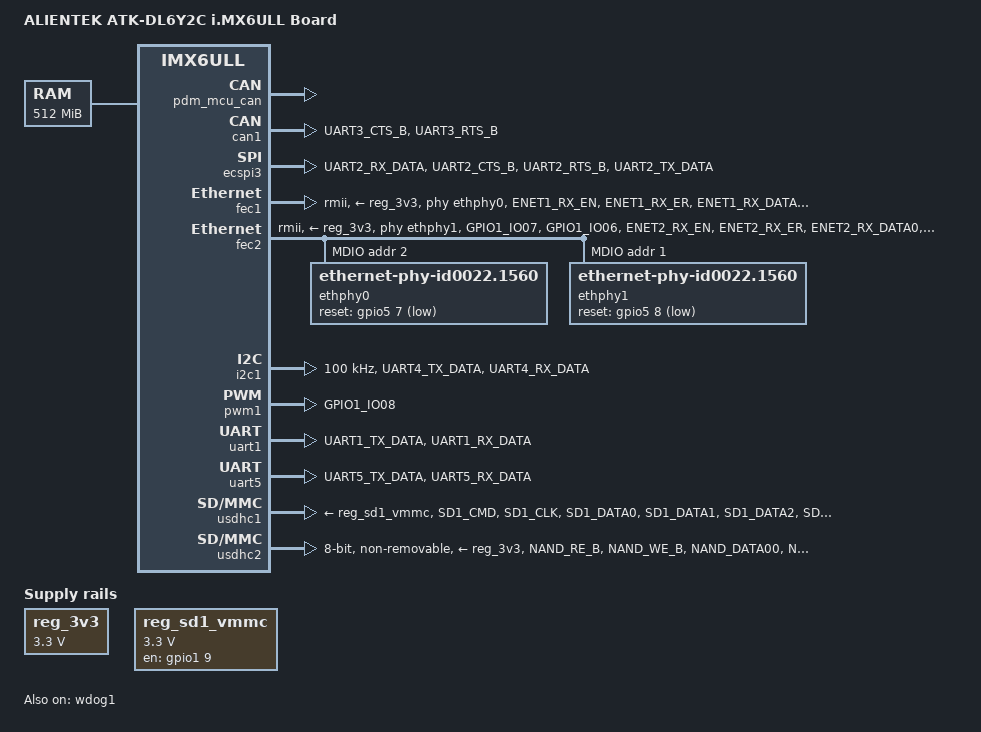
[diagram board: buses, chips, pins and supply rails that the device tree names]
// SPDX-License-Identifier: (GPL-2.0 OR MIT)
/*
 * Device tree for the ALIENTEK ATK-DL6Y2C i.MX6ULL board.
 */

/dts-v1/;

#include "imx6ull.dtsi"

/ {
	model = "ALIENTEK ATK-DL6Y2C i.MX6ULL Board";
	compatible = "alientek,imx6ull-atk-dl6y2c", "fsl,imx6ull";

	chosen {
		stdout-path = &uart1;
	};

	aliases {
		can0 = &can1;
		mmc0 = &usdhc1;
		mmc1 = &usdhc2;
	};

	memory@80000000 {
		device_type = "memory";
		reg = <0x80000000 0x20000000>;
	};

	pdm_bus: pdm-bus {
		compatible = "pdm,bus-type";
		#address-cells = <1>;
		#size-cells = <0>;
		pinctrl-names = "default";
		pinctrl-0 = <&pinctrl_pdm_led_gpio>;

		pdm_led_gpio: led@0 {
			compatible = "pdm,led-gpio";
			reg = <0>;
			led-gpios = <&gpio1 3 GPIO_ACTIVE_LOW>;
			max-brightness = <1>;
			default-state = "off";
		};

		pdm_led_pwm: led@1 {
			compatible = "pdm,led-pwm";
			reg = <1>;
			pwms = <&pwm1 0 5000000 0>;
			max-brightness = <255>;
			default-state = "off";
		};

		pdm_mcu_can: mcu@3 {
			compatible = "pdm,mcu-can";
			reg = <3>;
			pdm,name = "main_mcu";
			pdm,id = <0>;
			can-controller = <&can1>;
			pdm,rx-timeout-ms = <100>;
		};
	};

	reg_3v3: regulator-3v3 {
		compatible = "regulator-fixed";
		regulator-name = "3v3";
		regulator-min-microvolt = <3300000>;
		regulator-max-microvolt = <3300000>;
		regulator-always-on;
		regulator-boot-on;
	};

	reg_sd1_vmmc: regulator-sd1-vmmc {
		compatible = "regulator-fixed";
		regulator-name = "VSD_3V3";
		regulator-min-microvolt = <3300000>;
		regulator-max-microvolt = <3300000>;
		gpio = <&gpio1 9 GPIO_ACTIVE_HIGH>;
		enable-active-high;
		regulator-boot-on;
	};
};

&can1 {
	pinctrl-names = "default";
	pinctrl-0 = <&pinctrl_flexcan1>;
	status = "okay";
};

&clks {
	assigned-clocks = <&clks IMX6UL_CLK_PLL3_PFD2>;
	assigned-clock-rates = <320000000>;
};

&ecspi3 {
	cs-gpios = <&gpio1 20 GPIO_ACTIVE_LOW>;
	pinctrl-names = "default";
	pinctrl-0 = <&pinctrl_ecspi3>;
	status = "okay";

	pdm_mcu_spi: mcu@0 {
		compatible = "pdm,mcu-spi";
		reg = <0>;
		pdm,name = "spi_mcu";
		pdm,id = <1>;
		spi-max-frequency = <1000000>;
		pdm,command-bytes = <2>;
		pdm,rx-timeout-ms = <100>;
		status = "disabled";
	};
};

&fec1 {
	pinctrl-names = "default";
	pinctrl-0 = <&pinctrl_enet1>;
	phy-mode = "rmii";
	phy-handle = <&ethphy0>;
	phy-supply = <&reg_3v3>;
	status = "okay";
};

&fec2 {
	pinctrl-names = "default";
	pinctrl-0 = <&pinctrl_enet2>;
	phy-mode = "rmii";
	phy-handle = <&ethphy1>;
	phy-supply = <&reg_3v3>;
	status = "okay";

	mdio {
		#address-cells = <1>;
		#size-cells = <0>;

		ethphy0: ethernet-phy@2 {
			compatible = "ethernet-phy-id0022.1560";
			reg = <2>;
			pinctrl-names = "default";
			pinctrl-0 = <&pinctrl_enet1_rst>;
			reset-gpios = <&gpio5 7 GPIO_ACTIVE_LOW>;
			reset-assert-us = <10000>;
			reset-deassert-us = <30000>;
			micrel,led-mode = <1>;
			clocks = <&clks IMX6UL_CLK_ENET_REF>;
			clock-names = "rmii-ref";
		};

		ethphy1: ethernet-phy@1 {
			compatible = "ethernet-phy-id0022.1560";
			reg = <1>;
			pinctrl-names = "default";
			pinctrl-0 = <&pinctrl_enet2_rst>;
			reset-gpios = <&gpio5 8 GPIO_ACTIVE_LOW>;
			reset-assert-us = <10000>;
			reset-deassert-us = <30000>;
			micrel,led-mode = <1>;
			clocks = <&clks IMX6UL_CLK_ENET2_REF>;
			clock-names = "rmii-ref";
		};
	};
};

&i2c1 {
	clock-frequency = <100000>;
	pinctrl-names = "default";
	pinctrl-0 = <&pinctrl_i2c1>;
	status = "okay";

	pdm_mcu_i2c: mcu@10 {
		compatible = "pdm,mcu-i2c";
		reg = <0x10>;
		pdm,name = "i2c_mcu";
		pdm,id = <2>;
		pdm,command-bytes = <1>;
		pdm,rx-timeout-ms = <100>;
		status = "disabled";
	};
};

&pwm1 {
	pinctrl-names = "default";
	pinctrl-0 = <&pinctrl_pwm1>;
	status = "okay";
};

&snvs_poweroff {
	status = "okay";
};

&uart1 {
	pinctrl-names = "default";
	pinctrl-0 = <&pinctrl_uart1>;
	status = "okay";
};

&uart3 {
	pinctrl-names = "default";
	pinctrl-0 = <&pinctrl_uart3>;
	status = "disabled";

	pdm_mcu_uart: mcu {
		compatible = "pdm,mcu-uart";
		pdm,name = "uart_mcu";
		pdm,id = <3>;
		current-speed = <115200>;
		pdm,rx-timeout-ms = <100>;
		status = "disabled";
	};
};

&uart5 {
	pinctrl-names = "default";
	pinctrl-0 = <&pinctrl_uart5>;
	status = "okay";
};

&usdhc1 {
	pinctrl-names = "default", "state_100mhz", "state_200mhz";
	pinctrl-0 = <&pinctrl_usdhc1>;
	pinctrl-1 = <&pinctrl_usdhc1_100mhz>;
	pinctrl-2 = <&pinctrl_usdhc1_200mhz>;
	cd-gpios = <&gpio1 19 GPIO_ACTIVE_LOW>;
	keep-power-in-suspend;
	wakeup-source;
	vmmc-supply = <&reg_sd1_vmmc>;
	status = "okay";
};

&usdhc2 {
	pinctrl-names = "default", "state_100mhz", "state_200mhz";
	pinctrl-0 = <&pinctrl_usdhc2>;
	pinctrl-1 = <&pinctrl_usdhc2_100mhz>;
	pinctrl-2 = <&pinctrl_usdhc2_200mhz>;
	bus-width = <8>;
	non-removable;
	no-1-8-v;
	keep-power-in-suspend;
	vmmc-supply = <&reg_3v3>;
	status = "okay";
};

&wdog1 {
	pinctrl-names = "default";
	pinctrl-0 = <&pinctrl_wdog>;
	fsl,ext-reset-output;
	status = "okay";
};

&iomuxc {
	pinctrl_ecspi3: ecspi3grp {
		fsl,pins = <
			MX6UL_PAD_UART2_RX_DATA__ECSPI3_SCLK	0x10b0
			MX6UL_PAD_UART2_CTS_B__ECSPI3_MOSI	0x10b0
			MX6UL_PAD_UART2_RTS_B__ECSPI3_MISO	0x10b0
			MX6UL_PAD_UART2_TX_DATA__GPIO1_IO20	0x10b0
		>;
	};

	pinctrl_enet1: enet1grp {
		fsl,pins = <
			MX6UL_PAD_ENET1_RX_EN__ENET1_RX_EN	0x1b0b0
			MX6UL_PAD_ENET1_RX_ER__ENET1_RX_ER	0x1b0b0
			MX6UL_PAD_ENET1_RX_DATA0__ENET1_RDATA00	0x1b0b0
			MX6UL_PAD_ENET1_RX_DATA1__ENET1_RDATA01	0x1b0b0
			MX6UL_PAD_ENET1_TX_EN__ENET1_TX_EN	0x1b0b0
			MX6UL_PAD_ENET1_TX_DATA0__ENET1_TDATA00	0x1b0b0
			MX6UL_PAD_ENET1_TX_DATA1__ENET1_TDATA01	0x1b0b0
			MX6UL_PAD_ENET1_TX_CLK__ENET1_REF_CLK1	0x4001b031
		>;
	};

	pinctrl_enet2: enet2grp {
		fsl,pins = <
			MX6UL_PAD_GPIO1_IO07__ENET2_MDC		0x1b0b0
			MX6UL_PAD_GPIO1_IO06__ENET2_MDIO	0x1b0b0
			MX6UL_PAD_ENET2_RX_EN__ENET2_RX_EN	0x1b0b0
			MX6UL_PAD_ENET2_RX_ER__ENET2_RX_ER	0x1b0b0
			MX6UL_PAD_ENET2_RX_DATA0__ENET2_RDATA00	0x1b0b0
			MX6UL_PAD_ENET2_RX_DATA1__ENET2_RDATA01	0x1b0b0
			MX6UL_PAD_ENET2_TX_EN__ENET2_TX_EN	0x1b0b0
			MX6UL_PAD_ENET2_TX_DATA0__ENET2_TDATA00	0x1b0b0
			MX6UL_PAD_ENET2_TX_DATA1__ENET2_TDATA01	0x1b0b0
			MX6UL_PAD_ENET2_TX_CLK__ENET2_REF_CLK2	0x4001b031
		>;
	};

	pinctrl_enet1_rst: enet1rstgrp {
		fsl,pins = <
			MX6UL_PAD_SNVS_TAMPER7__GPIO5_IO07	0x0b0b0
		>;
	};

	pinctrl_enet2_rst: enet2rstgrp {
		fsl,pins = <
			MX6UL_PAD_SNVS_TAMPER8__GPIO5_IO08	0x0b0b0
		>;
	};

	pinctrl_flexcan1: flexcan1grp {
		fsl,pins = <
			MX6UL_PAD_UART3_CTS_B__FLEXCAN1_TX	0x1b020
			MX6UL_PAD_UART3_RTS_B__FLEXCAN1_RX	0x1b020
		>;
	};

	pinctrl_i2c1: i2c1grp {
		fsl,pins = <
			MX6UL_PAD_UART4_TX_DATA__I2C1_SCL	0x4001b8b0
			MX6UL_PAD_UART4_RX_DATA__I2C1_SDA	0x4001b8b0
		>;
	};

	pinctrl_pdm_led_gpio: pdmledgpiogrp {
		fsl,pins = <
			MX6UL_PAD_GPIO1_IO03__GPIO1_IO03	0x1b0b0
		>;
	};

	pinctrl_pwm1: pwm1grp {
		fsl,pins = <
			MX6UL_PAD_GPIO1_IO08__PWM1_OUT		0x110b0
		>;
	};

	pinctrl_uart1: uart1grp {
		fsl,pins = <
			MX6UL_PAD_UART1_TX_DATA__UART1_DCE_TX	0x1b0b1
			MX6UL_PAD_UART1_RX_DATA__UART1_DCE_RX	0x1b0b1
		>;
	};

	pinctrl_uart3: uart3grp {
		fsl,pins = <
			MX6UL_PAD_UART3_TX_DATA__UART3_DCE_TX	0x1b0b1
			MX6UL_PAD_UART3_RX_DATA__UART3_DCE_RX	0x1b0b1
		>;
	};

	pinctrl_uart5: uart5grp {
		fsl,pins = <
			MX6UL_PAD_UART5_TX_DATA__UART5_DCE_TX	0x1b0b1
			MX6UL_PAD_UART5_RX_DATA__UART5_DCE_RX	0x1b0b1
		>;
	};

	pinctrl_usdhc1: usdhc1grp {
		fsl,pins = <
			MX6UL_PAD_SD1_CMD__USDHC1_CMD		0x17059
			MX6UL_PAD_SD1_CLK__USDHC1_CLK		0x10059
			MX6UL_PAD_SD1_DATA0__USDHC1_DATA0	0x17059
			MX6UL_PAD_SD1_DATA1__USDHC1_DATA1	0x17059
			MX6UL_PAD_SD1_DATA2__USDHC1_DATA2	0x17059
			MX6UL_PAD_SD1_DATA3__USDHC1_DATA3	0x17059
			MX6UL_PAD_UART1_RTS_B__GPIO1_IO19	0x17059
			MX6UL_PAD_GPIO1_IO05__USDHC1_VSELECT	0x17059
			MX6UL_PAD_GPIO1_IO09__GPIO1_IO09	0x17059
		>;
	};

	pinctrl_usdhc1_100mhz: usdhc1-100mhz-grp {
		fsl,pins = <
			MX6UL_PAD_SD1_CMD__USDHC1_CMD		0x170b9
			MX6UL_PAD_SD1_CLK__USDHC1_CLK		0x100b9
			MX6UL_PAD_SD1_DATA0__USDHC1_DATA0	0x170b9
			MX6UL_PAD_SD1_DATA1__USDHC1_DATA1	0x170b9
			MX6UL_PAD_SD1_DATA2__USDHC1_DATA2	0x170b9
			MX6UL_PAD_SD1_DATA3__USDHC1_DATA3	0x170b9
		>;
	};

	pinctrl_usdhc1_200mhz: usdhc1-200mhz-grp {
		fsl,pins = <
			MX6UL_PAD_SD1_CMD__USDHC1_CMD		0x170f9
			MX6UL_PAD_SD1_CLK__USDHC1_CLK		0x100f9
			MX6UL_PAD_SD1_DATA0__USDHC1_DATA0	0x170f9
			MX6UL_PAD_SD1_DATA1__USDHC1_DATA1	0x170f9
			MX6UL_PAD_SD1_DATA2__USDHC1_DATA2	0x170f9
			MX6UL_PAD_SD1_DATA3__USDHC1_DATA3	0x170f9
		>;
	};

	pinctrl_usdhc2: usdhc2grp {
		fsl,pins = <
			MX6UL_PAD_NAND_RE_B__USDHC2_CLK		0x10069
			MX6UL_PAD_NAND_WE_B__USDHC2_CMD		0x17059
			MX6UL_PAD_NAND_DATA00__USDHC2_DATA0	0x17059
			MX6UL_PAD_NAND_DATA01__USDHC2_DATA1	0x17059
			MX6UL_PAD_NAND_DATA02__USDHC2_DATA2	0x17059
			MX6UL_PAD_NAND_DATA03__USDHC2_DATA3	0x17059
			MX6UL_PAD_NAND_DATA04__USDHC2_DATA4	0x17059
			MX6UL_PAD_NAND_DATA05__USDHC2_DATA5	0x17059
			MX6UL_PAD_NAND_DATA06__USDHC2_DATA6	0x17059
			MX6UL_PAD_NAND_DATA07__USDHC2_DATA7	0x17059
		>;
	};

	pinctrl_usdhc2_100mhz: usdhc2-100mhz-grp {
		fsl,pins = <
			MX6UL_PAD_NAND_RE_B__USDHC2_CLK		0x100b9
			MX6UL_PAD_NAND_WE_B__USDHC2_CMD		0x170b9
			MX6UL_PAD_NAND_DATA00__USDHC2_DATA0	0x170b9
			MX6UL_PAD_NAND_DATA01__USDHC2_DATA1	0x170b9
			MX6UL_PAD_NAND_DATA02__USDHC2_DATA2	0x170b9
			MX6UL_PAD_NAND_DATA03__USDHC2_DATA3	0x170b9
			MX6UL_PAD_NAND_DATA04__USDHC2_DATA4	0x170b9
			MX6UL_PAD_NAND_DATA05__USDHC2_DATA5	0x170b9
			MX6UL_PAD_NAND_DATA06__USDHC2_DATA6	0x170b9
			MX6UL_PAD_NAND_DATA07__USDHC2_DATA7	0x170b9
		>;
	};

	pinctrl_usdhc2_200mhz: usdhc2-200mhz-grp {
		fsl,pins = <
			MX6UL_PAD_NAND_RE_B__USDHC2_CLK		0x100f9
			MX6UL_PAD_NAND_WE_B__USDHC2_CMD		0x170f9
			MX6UL_PAD_NAND_DATA00__USDHC2_DATA0	0x170f9
			MX6UL_PAD_NAND_DATA01__USDHC2_DATA1	0x170f9
			MX6UL_PAD_NAND_DATA02__USDHC2_DATA2	0x170f9
			MX6UL_PAD_NAND_DATA03__USDHC2_DATA3	0x170f9
			MX6UL_PAD_NAND_DATA04__USDHC2_DATA4	0x170f9
			MX6UL_PAD_NAND_DATA05__USDHC2_DATA5	0x170f9
			MX6UL_PAD_NAND_DATA06__USDHC2_DATA6	0x170f9
			MX6UL_PAD_NAND_DATA07__USDHC2_DATA7	0x170f9
		>;
	};

	pinctrl_wdog: wdoggrp {
		fsl,pins = <
			MX6UL_PAD_LCD_RESET__WDOG1_WDOG_ANY	0x30b0
		>;
	};
};
